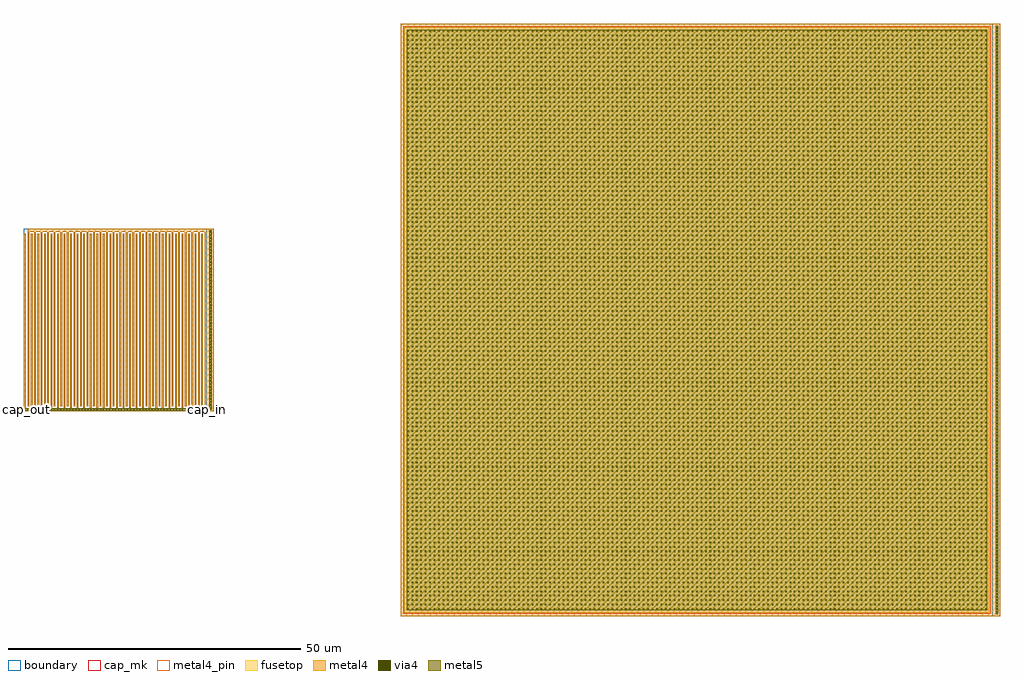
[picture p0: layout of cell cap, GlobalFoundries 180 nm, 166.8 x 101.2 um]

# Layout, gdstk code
import gdstk
lib = gdstk.Library(unit=1e-6, precision=1e-09)
def R(c, l, rs):  # rectangles x0, y0, x1, y1
    for r in rs: c.add(gdstk.rectangle(r[:2], r[2:], *l))
def A(c, l, x, y, w, h, nx, ny, dx, dy):  # array of equal rectangles
    R(c, l, [(x+i*dx, y+j*dy, x+i*dx+w, y+j*dy+h) for i in range(nx) for j in range(ny)])
boundary = (0, 0)
via4 = (41, 0)
metal4 = (46, 0)
metal4_pin = (46, 10)
fusetop = (75, 0)
metal5 = (81, 0)
cap_mk = (117, 5)

cap = lib.new_cell('cap')
R(cap, boundary, [(48.8,-50.6,150,50.6), (-15.6,-15.6,15.6,15.6)])
A(cap, via4, 150.54, -50.05, 0.26, 0.26, 1, 193, 0, 0.52)
A(cap, via4, 49.87, -49.53, 0.26, 0.26, 131, 131, 0.76, 0.76)
A(cap, via4, -15.17, -15.43, 0.26, 0.26, 58, 1, 0.52, 0)
A(cap, via4, 16.14, -15.21, 0.26, 0.26, 1, 59, 0, 0.52)
A(cap, metal4, -14.42, -15.6, 0.28, 30.36, 27, 1, 1.12, 0)
A(cap, metal4, -14.98, -14.76, 0.28, 30.36, 27, 1, 1.12, 0)
R(cap, metal4, [(48.8,-50.6,151.2,50.6), (-15.6,-15.6,-15.26,14.76), (-15.6,-15.6,14.98,-15.04), (15.26,-15.6,16.8,15.6), (-14.98,15.04,16.8,15.6)])
R(cap, metal4_pin, [(-15.6,-15.6,-14.465,-15.04), (15.26,-15.6,16.8,-15.04)])
R(cap, fusetop, [(49.4,-50,149.4,50)])
R(cap, metal5, [(150.45,-50.315,150.89,50.315), (49.8,-49.6,149,49.6), (-15.43,-15.52,14.835,-15.08), (16.05,-15.315,16.49,15.315)])
R(cap, cap_mk, [(49.2,-50.2,149.6,50.2)])
cap.add(gdstk.Label('cap_in', (15.715,-15.235), layer=46, texttype=10))
cap.add(gdstk.Label('cap_out', (-15.145,-15.235), layer=46, texttype=10))

lib.write_gds('cap.gds')
